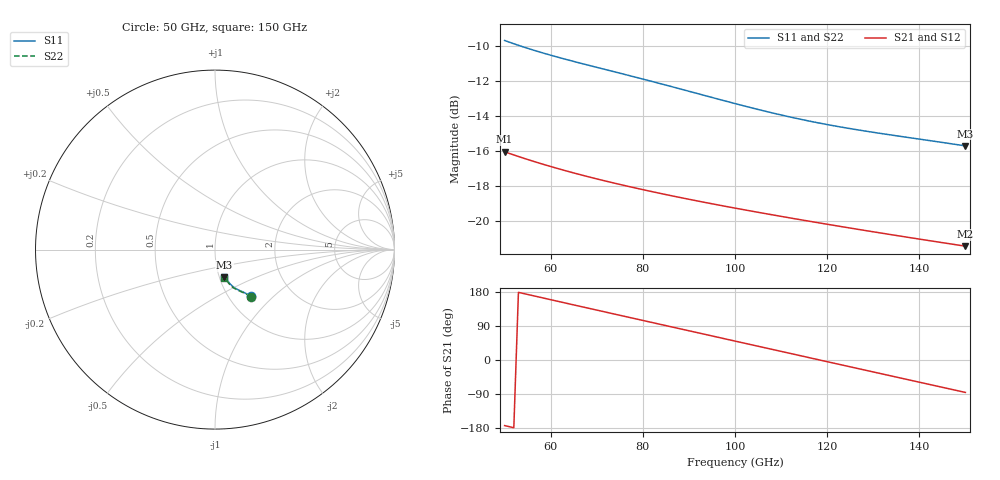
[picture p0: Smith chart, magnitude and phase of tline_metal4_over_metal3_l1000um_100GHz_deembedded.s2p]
! Created with skrf 2.2.0 (http://scikit-rf.org).
# GHz S DB R 50.0
! Port[1] = P1
! Port[2] = P2
!freq dBS11 angS11 dBS21 angS21 dBS12 angS12 dBS22 angS22
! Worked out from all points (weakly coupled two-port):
!   101 points, 50 GHz to 150 GHz, reference 50 ohm
!   highest |S21| = -16.03 dB at 50 GHz (marker M1); lowest = -21.4 dB at 150 GHz (marker M2)
!   lowest |S11| = -15.7 dB at 150 GHz (marker M3), VSWR 1.39, Z = 52.8 - j16.9 ohm
!   |S11| at or under -10 dB: 53.75 GHz to end of sweep
!   |S22| runs from -15.5 to -9.6 dB; largest |S21 - S12| = 1.6e-13
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50  -9.66 -52.4  -16.03 -173.1  -16.03 -173.1  -9.62 -52.7
54  -10.02 -53.3  -16.39 175.7  -16.39 175.7  -9.98 -53.7
58  -10.35 -54.3  -16.72 164.7  -16.72 164.7  -10.30 -54.7
63  -10.72 -55.6  -17.11 150.9  -17.11 150.9  -10.67 -56.0
67  -11.00 -56.7  -17.39 139.9  -17.39 139.9  -10.94 -57.1
71  -11.26 -57.8  -17.65 129.0  -17.65 129.0  -11.20 -58.3
75  -11.53 -59.0  -17.91 118.0  -17.91 118.0  -11.46 -59.5
79  -11.80 -60.2  -18.15 107.1  -18.15 107.1  -11.73 -60.8
84  -12.15 -61.7  -18.43 93.5  -18.43 93.5  -12.06 -62.3
88  -12.43 -62.7  -18.65 82.6  -18.65 82.6  -12.34 -63.4
92  -12.71 -63.7  -18.86 71.7  -18.86 71.7  -12.62 -64.5
100  -13.27 -65.4  -19.26 49.9  -19.26 49.9  -13.17 -66.2
105  -13.61 -66.2  -19.50 36.4  -19.50 36.4  -13.50 -67.1
109  -13.86 -66.7  -19.69 25.5  -19.69 25.5  -13.75 -67.6
113  -14.10 -67.1  -19.87 14.6  -19.87 14.6  -13.99 -68.1
117  -14.32 -67.5  -20.06 3.7  -20.06 3.7  -14.20 -68.5
121  -14.52 -67.8  -20.23 -7.1  -20.23 -7.1  -14.40 -68.9
125  -14.71 -68.2  -20.41 -18.0  -20.41 -18.0  -14.57 -69.3
129  -14.88 -68.6  -20.58 -28.8  -20.58 -28.8  -14.74 -69.7
134  -15.08 -69.1  -20.79 -42.3  -20.79 -42.3  -14.93 -70.3
142  -15.39 -70.1  -21.12 -64.0  -21.12 -64.0  -15.21 -71.4
150  -15.70 -71.2  -21.45 -85.6  -21.45 -85.6  -15.50 -72.6
